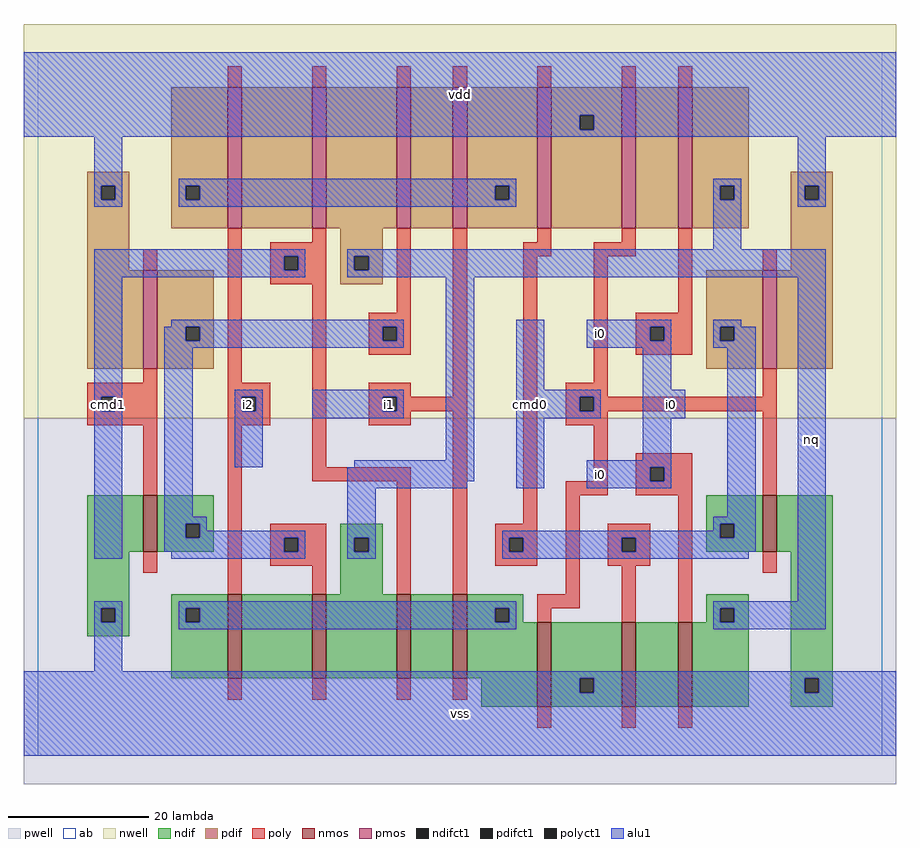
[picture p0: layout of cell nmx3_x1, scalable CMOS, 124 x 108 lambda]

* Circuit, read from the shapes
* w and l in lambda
.subckt nmx3_x1 cmd0 cmd1 i0 i1 i2 nq vdd vss
M1 n1 cmd1 vss VSUBS nfet w=8 l=2
M2 n2 i2 n3 VSUBS nfet w=12 l=2
M3 nq n1 n2 VSUBS nfet w=12 l=2
M4 n4 cmd1 nq VSUBS nfet w=12 l=2
M5 n3 i1 n4 VSUBS nfet w=12 l=2
M6 vss cmd0 n3 VSUBS nfet w=12 l=2
M7 n5 n6 vss VSUBS nfet w=12 l=2
M8 nq i0 n5 VSUBS nfet w=12 l=2
M9 vss cmd0 n6 VSUBS nfet w=8 l=2
M10 n1 cmd1 vdd n7 pfet w=14 l=2
M11 n8 i2 n9 n7 pfet w=20 l=2
M12 nq cmd1 n8 n7 pfet w=20 l=2
M13 n10 n1 nq n7 pfet w=20 l=2
M14 n9 i1 n10 n7 pfet w=20 l=2
M15 vdd n6 n9 n7 pfet w=20 l=2
M16 n11 cmd0 vdd n7 pfet w=20 l=2
M17 nq i0 n11 n7 pfet w=20 l=2
M18 vdd cmd0 n6 n7 pfet w=14 l=2
.ends

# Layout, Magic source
magic
tech scmos
<< ab >>
rect 0 0 120 100
<< nwell >>
rect -2 48 122 104
<< pwell >>
rect -2 -4 122 48
<< poly >>
rect 27 95 29 98
rect 39 95 41 98
rect 51 95 53 98
rect 59 95 61 98
rect 71 95 73 98
rect 83 95 85 98
rect 91 95 93 98
rect 15 69 17 72
rect 15 53 17 55
rect 7 51 17 53
rect 7 49 9 51
rect 11 49 17 51
rect 7 47 17 49
rect 15 37 17 47
rect 27 53 29 75
rect 39 73 41 75
rect 33 71 41 73
rect 33 69 35 71
rect 37 69 41 71
rect 33 67 41 69
rect 27 51 33 53
rect 27 49 29 51
rect 31 49 33 51
rect 27 47 33 49
rect 15 26 17 29
rect 27 23 29 47
rect 39 41 41 67
rect 51 63 53 75
rect 47 61 53 63
rect 47 59 49 61
rect 51 59 53 61
rect 47 57 53 59
rect 47 51 53 53
rect 59 51 61 75
rect 71 73 73 75
rect 83 73 85 75
rect 47 49 49 51
rect 51 49 61 51
rect 47 47 53 49
rect 39 39 53 41
rect 33 31 41 33
rect 33 29 35 31
rect 37 29 41 31
rect 33 27 41 29
rect 39 23 41 27
rect 51 23 53 39
rect 59 23 61 49
rect 69 71 73 73
rect 79 71 85 73
rect 69 33 71 71
rect 79 53 81 71
rect 91 63 93 75
rect 103 69 105 72
rect 85 61 93 63
rect 85 59 87 61
rect 89 59 93 61
rect 85 57 93 59
rect 75 51 81 53
rect 103 51 105 55
rect 75 49 77 51
rect 79 49 105 51
rect 75 47 81 49
rect 79 39 81 47
rect 65 31 71 33
rect 65 29 67 31
rect 69 29 71 31
rect 65 27 71 29
rect 75 37 81 39
rect 85 41 93 43
rect 85 39 87 41
rect 89 39 93 41
rect 85 37 93 39
rect 103 37 105 49
rect 75 23 77 37
rect 81 31 87 33
rect 81 29 83 31
rect 85 29 87 31
rect 81 27 87 29
rect 71 21 77 23
rect 71 19 73 21
rect 83 19 85 27
rect 91 19 93 37
rect 103 26 105 29
rect 27 8 29 11
rect 39 8 41 11
rect 51 8 53 11
rect 59 8 61 11
rect 71 4 73 7
rect 83 4 85 7
rect 91 4 93 7
<< ndif >>
rect 7 29 15 37
rect 17 33 25 37
rect 17 31 21 33
rect 23 31 25 33
rect 17 29 25 31
rect 7 21 13 29
rect 43 31 49 33
rect 43 29 45 31
rect 47 29 49 31
rect 43 23 49 29
rect 7 19 9 21
rect 11 19 13 21
rect 7 17 13 19
rect 19 21 27 23
rect 19 19 21 21
rect 23 19 27 21
rect 19 11 27 19
rect 29 11 39 23
rect 41 11 51 23
rect 53 11 59 23
rect 61 21 69 23
rect 61 19 65 21
rect 67 19 69 21
rect 95 33 103 37
rect 95 31 97 33
rect 99 31 103 33
rect 95 29 103 31
rect 105 29 113 37
rect 95 21 101 23
rect 95 19 97 21
rect 99 19 101 21
rect 61 11 71 19
rect 63 7 71 11
rect 73 11 83 19
rect 73 9 77 11
rect 79 9 83 11
rect 73 7 83 9
rect 85 7 91 19
rect 93 7 101 19
rect 107 11 113 29
rect 107 9 109 11
rect 111 9 113 11
rect 107 7 113 9
<< pdif >>
rect 7 81 13 83
rect 7 79 9 81
rect 11 79 13 81
rect 7 69 13 79
rect 19 81 27 95
rect 19 79 21 81
rect 23 79 27 81
rect 19 75 27 79
rect 29 75 39 95
rect 41 75 51 95
rect 53 75 59 95
rect 61 81 71 95
rect 61 79 65 81
rect 67 79 71 81
rect 61 75 71 79
rect 73 91 83 95
rect 73 89 77 91
rect 79 89 83 91
rect 73 75 83 89
rect 85 75 91 95
rect 93 81 101 95
rect 93 79 97 81
rect 99 79 101 81
rect 93 75 101 79
rect 107 81 113 83
rect 107 79 109 81
rect 111 79 113 81
rect 7 55 15 69
rect 17 61 25 69
rect 17 59 21 61
rect 23 59 25 61
rect 17 55 25 59
rect 43 71 49 75
rect 43 69 45 71
rect 47 69 49 71
rect 43 67 49 69
rect 107 69 113 79
rect 95 61 103 69
rect 95 59 97 61
rect 99 59 103 61
rect 95 55 103 59
rect 105 55 113 69
<< alu1 >>
rect -2 91 122 100
rect -2 89 77 91
rect 79 89 122 91
rect -2 88 122 89
rect 8 81 12 88
rect 8 79 9 81
rect 11 79 12 81
rect 8 78 12 79
rect 20 81 68 82
rect 20 79 21 81
rect 23 79 65 81
rect 67 79 68 81
rect 20 78 68 79
rect 96 81 100 82
rect 96 79 97 81
rect 99 79 100 81
rect 96 72 100 79
rect 108 81 112 88
rect 108 79 109 81
rect 111 79 112 81
rect 108 78 112 79
rect 8 71 38 72
rect 8 69 35 71
rect 37 69 38 71
rect 8 68 38 69
rect 44 71 112 72
rect 44 69 45 71
rect 47 69 112 71
rect 44 68 112 69
rect 8 51 12 68
rect 19 61 52 62
rect 8 49 9 51
rect 11 49 12 51
rect 8 28 12 49
rect 18 59 21 61
rect 23 59 49 61
rect 51 59 52 61
rect 18 58 52 59
rect 18 34 22 58
rect 28 51 32 52
rect 28 49 29 51
rect 31 49 32 51
rect 28 41 32 49
rect 39 51 52 52
rect 39 49 49 51
rect 51 49 52 51
rect 39 48 52 49
rect 58 42 62 68
rect 45 41 62 42
rect 44 39 62 41
rect 68 52 72 62
rect 78 61 90 62
rect 78 59 87 61
rect 89 59 90 61
rect 78 58 90 59
rect 96 61 100 62
rect 96 59 97 61
rect 99 59 102 61
rect 96 58 102 59
rect 86 52 90 58
rect 68 51 80 52
rect 68 49 77 51
rect 79 49 80 51
rect 68 48 80 49
rect 86 48 92 52
rect 44 38 61 39
rect 68 38 72 48
rect 86 42 90 48
rect 78 41 90 42
rect 78 39 87 41
rect 89 39 90 41
rect 78 38 90 39
rect 18 33 24 34
rect 18 31 21 33
rect 23 32 24 33
rect 23 31 38 32
rect 18 29 35 31
rect 37 29 38 31
rect 19 28 38 29
rect 44 31 48 38
rect 98 34 102 58
rect 96 33 102 34
rect 96 32 97 33
rect 44 29 45 31
rect 47 29 48 31
rect 44 28 48 29
rect 66 31 97 32
rect 99 31 102 33
rect 66 29 67 31
rect 69 29 83 31
rect 85 29 102 31
rect 66 28 101 29
rect 108 22 112 68
rect 8 21 12 22
rect 8 19 9 21
rect 11 19 12 21
rect 8 12 12 19
rect 20 21 68 22
rect 20 19 21 21
rect 23 19 65 21
rect 67 19 68 21
rect 20 18 68 19
rect 96 21 112 22
rect 96 19 97 21
rect 99 19 112 21
rect 96 18 112 19
rect -2 11 122 12
rect -2 9 77 11
rect 79 9 109 11
rect 111 9 122 11
rect -2 0 122 9
<< nmos >>
rect 15 29 17 37
rect 27 11 29 23
rect 39 11 41 23
rect 51 11 53 23
rect 59 11 61 23
rect 103 29 105 37
rect 71 7 73 19
rect 83 7 85 19
rect 91 7 93 19
<< pmos >>
rect 27 75 29 95
rect 39 75 41 95
rect 51 75 53 95
rect 59 75 61 95
rect 71 75 73 95
rect 83 75 85 95
rect 91 75 93 95
rect 15 55 17 69
rect 103 55 105 69
<< polyct1 >>
rect 9 49 11 51
rect 35 69 37 71
rect 29 49 31 51
rect 49 59 51 61
rect 49 49 51 51
rect 35 29 37 31
rect 87 59 89 61
rect 77 49 79 51
rect 67 29 69 31
rect 87 39 89 41
rect 83 29 85 31
<< ndifct1 >>
rect 21 31 23 33
rect 45 29 47 31
rect 9 19 11 21
rect 21 19 23 21
rect 65 19 67 21
rect 97 31 99 33
rect 97 19 99 21
rect 77 9 79 11
rect 109 9 111 11
<< pdifct1 >>
rect 9 79 11 81
rect 21 79 23 81
rect 65 79 67 81
rect 77 89 79 91
rect 97 79 99 81
rect 109 79 111 81
rect 21 59 23 61
rect 45 69 47 71
rect 97 59 99 61
<< labels >>
rlabel polyct1 10 50 10 50 6 cmd1
rlabel polyct1 30 50 30 50 6 i2
rlabel alu1 60 6 60 6 6 vss
rlabel polyct1 50 50 50 50 6 i1
rlabel alu1 60 94 60 94 6 vdd
rlabel alu1 80 40 80 40 6 i0
rlabel alu1 70 50 70 50 6 cmd0
rlabel alu1 90 50 90 50 6 i0
rlabel alu1 80 60 80 60 6 i0
rlabel alu1 110 45 110 45 6 nq
<< end >>
